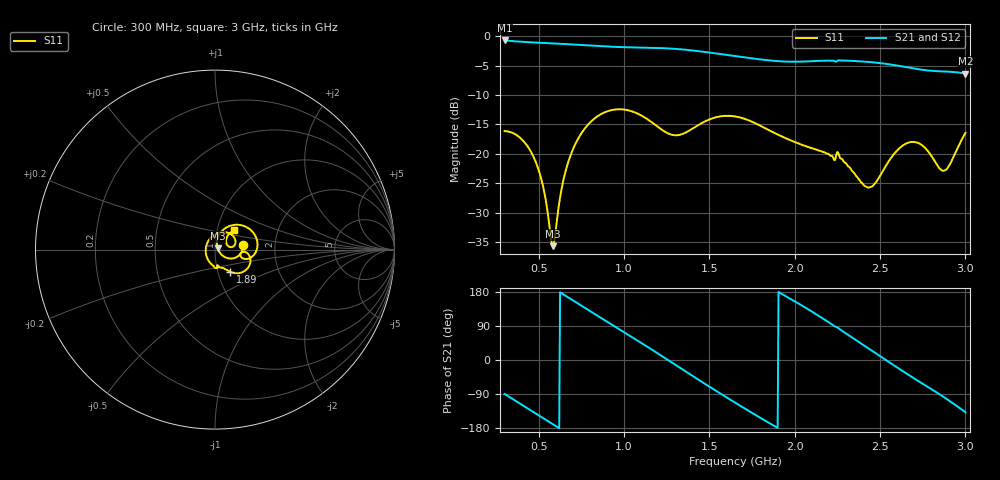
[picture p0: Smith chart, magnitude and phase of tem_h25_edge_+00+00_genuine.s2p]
! tem_h25_edge_+00+00_genuine
! simulated by sim/fixtures_fdtd.py (S12 = S21, S22 not computed)
# HZ S RI R 50
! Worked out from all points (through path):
!   541 points, 300 MHz to 3 GHz, reference 50 ohm
!   highest |S21| = -0.69 dB at 300 MHz (marker M1); lowest = -6.3 dB at 3 GHz (marker M2)
!   group delay of S21, straight-line fit = 784 ps
!   lowest |S11| = -35.7 dB at 585 MHz (marker M3), VSWR 1.03, Z = 51.5 + j0.726 ohm
!   |S11| at or under -10 dB: start of sweep to end of sweep
!   |S22| runs from - to - dB; largest |S21 - S12| = 0
!   S11 on the Smith chart (normalised r, x): 300 MHz: 1.36, +0.07; 1.89 GHz: 1.14, -0.29; 3 GHz: 1.20, +0.27
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3e8  0.1542 0.0252  0.00536 -0.9234  0.00536 -0.9234  0 0
4.75e8  0.0762 -0.0489  -0.6692 -0.5822  -0.6692 -0.5822  0 0
5.25e8  0.0416 -0.0331  -0.7844 -0.3984  -0.7844 -0.3984  0 0
5.85e8  0.0148 0.00705  -0.8583 -0.1506  -0.8583 -0.1506  0 0
6.55e8  0.0164 0.0671  -0.8479 0.1479  -0.8479 0.1479  0 0
7.5e8  0.0756 0.1292  -0.6765 0.5051  -0.6765 0.5051  0 0
8.6e8  0.176 0.125  -0.3156 0.7627  -0.3156 0.7627  0 0
9.7e8  0.2342 0.0506  0.1143 0.8038  0.1143 0.8038  0 0
1.08e9  0.2182 -0.0278  0.5056 0.6259  0.5056 0.6259  0 0
1.2e9  0.1611 -0.0511  0.7636 0.2286  0.7636 0.2286  0 0
1.315e9  0.1424 -0.0233  0.7465 -0.2268  0.7465 -0.2268  0 0
1.445e9  0.1783 -0.0186  0.4313 -0.6087  0.4313 -0.6087  0 0
1.65e9  0.178 -0.1082  -0.259 -0.6292  -0.259 -0.6292  0 0
1.89e9  0.0836 -0.1225  -0.616 -0.0362  -0.616 -0.0362  0 0
2.1e9  0.0442 -0.1026  -0.3781 0.485  -0.3781 0.485  0 0
2.3e9  -0.0208 -0.0807  0.2109 0.585  0.2109 0.585  0 0
2.435e9  -0.0513 0.00611  0.5259 0.3  0.5259 0.3  0 0
2.55e9  0.00108 0.0859  0.5775 -0.049  0.5775 -0.049  0 0
2.67e9  0.0961 0.0802  0.4147 -0.3495  0.4147 -0.3495  0 0
2.78e9  0.1038 0.0191  0.1666 -0.4848  0.1666 -0.4848  0 0
2.88e9  0.0635 0.0347  -0.0847 -0.4954  -0.0847 -0.4954  0 0
3e9  0.1053 0.108  -0.3563 -0.3257  -0.3563 -0.3257  0 0
